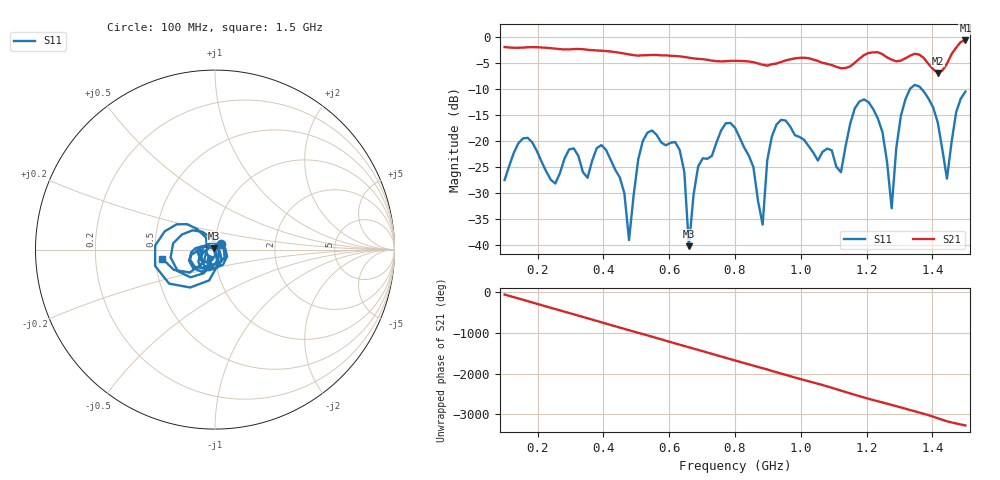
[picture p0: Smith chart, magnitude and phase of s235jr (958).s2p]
! NanoVNA-App
! Date: 2025-09-25 15:11:37
! Start: 100MHz Stop: 1,5GHz Points: 101
! S-Parameter data: F S11 S21 S12 S22
# Hz S RI R 50
!  Frequency  S11_Real  S11_Imag  S21_Real  S21_Imag  S12_Real  S12_Imag  S22_Real  S22_Imag
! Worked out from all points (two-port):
!   101 points, 100 MHz to 1.5 GHz, reference 50 ohm
!   highest |S21| = -0.69 dB at 1.5 GHz (marker M1); lowest = -6.9 dB at 1.416 GHz (marker M2)
!   |S21| within 3 dB of the highest: start of sweep to 622 MHz; 1.188 GHz to 1.256 GHz (68.04 MHz wide, 5.57 % of centre) (the widest 2 of 4)
!   lowest |S11| = -40.2 dB at 660 MHz (marker M3), VSWR 1.02, Z = 49.3 + j0.625 ohm
!   |S11| at or under -10 dB: start of sweep to 1.332 GHz; 1.367 GHz to end of sweep
!   S12 and S22 are empty: the file has one direction only
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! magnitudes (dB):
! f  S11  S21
! 100 MHz  -27.5  -2.0
! 170 MHz  -19.4  -2.0
! 338 MHz  -26.0  -2.4
! 408 MHz  -21.7  -2.7
! 478 MHz  -39.0  -3.4
! 520 MHz  -20.0  -3.5
! 576 MHz  -20.3  -3.5
! 632 MHz  -21.7  -3.7
! 660 MHz  -40.2  -4.0
! 688 MHz  -24.9  -4.2
! 800 MHz  -17.4  -4.6
! 884 MHz  -36.0  -5.4
! 926 MHz  -16.8  -5.1
! 1.038 GHz  -22.2  -4.4
! 1.122 GHz  -26.0  -6.0
! 1.206 GHz  -12.5  -3.1
! 1.248 GHz  -18.3  -3.3
! 1.276 GHz  -32.9  -4.4
! 1.332 GHz  -9.9  -3.6
! 1.416 GHz  -16.4  -6.9
! 1.444 GHz  -27.2  -5.2
! 1.5 GHz  -10.5  -0.7
